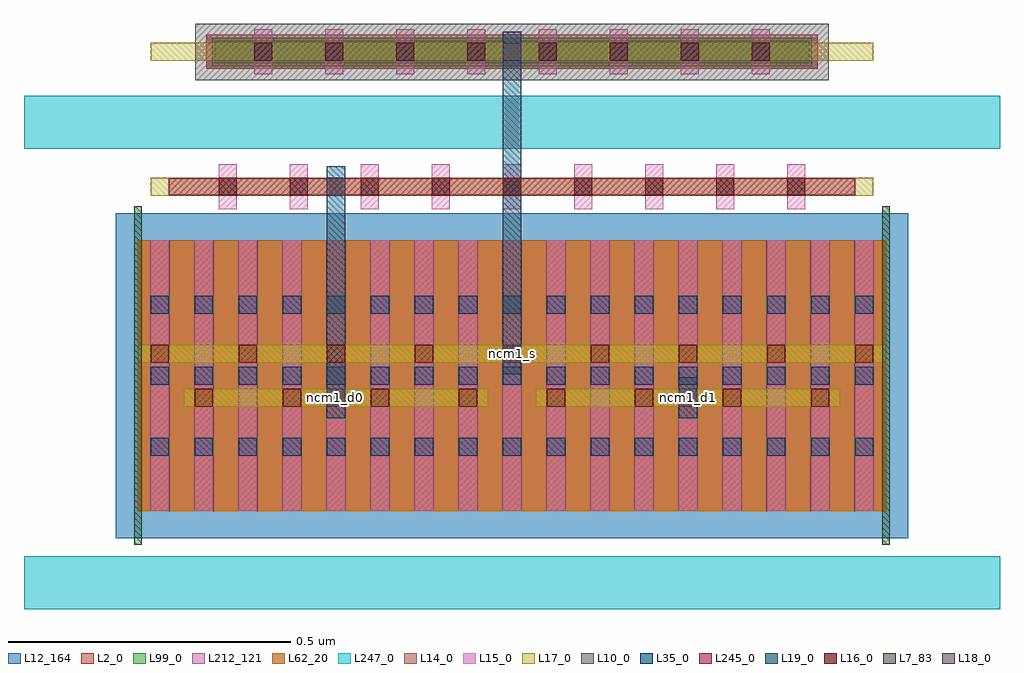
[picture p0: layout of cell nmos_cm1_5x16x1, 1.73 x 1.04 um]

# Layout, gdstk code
import gdstk
lib = gdstk.Library(unit=1e-6, precision=1e-12)
def R(c, l, rs):  # rectangles x0, y0, x1, y1
    for r in rs: c.add(gdstk.rectangle(r[:2], r[2:], *l))
def A(c, l, x, y, w, h, nx, ny, dx, dy):  # array of equal rectangles
    R(c, l, [(x+i*dx, y+j*dy, x+i*dx+w, y+j*dy+h) for i in range(nx) for j in range(ny)])
L2_0 = (2, 0)
L7_83 = (7, 83)
L10_0 = (10, 0)
L12_164 = (12, 164)
L14_0 = (14, 0)
L15_0 = (15, 0)
L16_0 = (16, 0)
L17_0 = (17, 0)
L18_0 = (18, 0)
L19_0 = (19, 0)
L35_0 = (35, 0)
L62_20 = (62, 20)
L99_0 = (99, 0)
L212_121 = (212, 121)
L245_0 = (245, 0)
L247_0 = (247, 0)

nmos_cm1_5x16x1 = lib.new_cell('nmos_cm1_5x16x1')
R(nmos_cm1_5x16x1, L2_0, [(0,0,1.326,0.48), (0.1214,0.784,1.2046,0.844)])
R(nmos_cm1_5x16x1, L7_83, [(-0.007,-0.06,0.007,0.54), (1.319,-0.06,1.333,0.54)])
R(nmos_cm1_5x16x1, L10_0, [(0.1014,0.764,1.2246,0.864)])
R(nmos_cm1_5x16x1, L12_164, [(-0.039,-0.048,1.365,0.528)])
A(nmos_cm1_5x16x1, L14_0, 0.022, 0, 0.034, 0.48, 17, 1, 0.078, 0)
R(nmos_cm1_5x16x1, L14_0, [(0.1364,0.794,1.1896,0.834)])
A(nmos_cm1_5x16x1, L15_0, 0.023, 0, 0.032, 0.48, 17, 1, 0.078, 0)
A(nmos_cm1_5x16x1, L15_0, 0.143, 0.535, 0.032, 0.08, 9, 1, 0.126, 0)
A(nmos_cm1_5x16x1, L15_0, 0.206, 0.774, 0.032, 0.08, 8, 1, 0.126, 0)
A(nmos_cm1_5x16x1, L16_0, 0.101, 0.185, 0.032, 0.032, 8, 1, 0.156, 0)
A(nmos_cm1_5x16x1, L16_0, 0.023, 0.263, 0.032, 0.032, 9, 1, 0.156, 0)
A(nmos_cm1_5x16x1, L16_0, 0.143, 0.559, 0.032, 0.032, 9, 1, 0.126, 0)
A(nmos_cm1_5x16x1, L16_0, 0.206, 0.798, 0.032, 0.032, 8, 1, 0.126, 0)
R(nmos_cm1_5x16x1, L17_0, [(0.081,0.185,0.621,0.217), (0.705,0.185,1.245,0.217), (0,0.263,1.326,0.295), (0.023,0.559,1.303,0.591), (0.023,0.798,1.303,0.83)])
R(nmos_cm1_5x16x1, L18_0, [(0.335,0.185,0.367,0.217), (0.959,0.185,0.991,0.217), (0.647,0.263,0.679,0.295), (0.335,0.559,0.367,0.591), (0.647,0.798,0.679,0.83)])
R(nmos_cm1_5x16x1, L19_0, [(0.335,0.165,0.367,0.611), (0.959,0.165,0.991,0.237), (0.647,0.243,0.679,0.85)])
A(nmos_cm1_5x16x1, L35_0, 0.023, 0.098, 0.032, 0.032, 17, 3, 0.078, 0.126)
A(nmos_cm1_5x16x1, L35_0, 0.143, 0.559, 0.032, 0.032, 9, 1, 0.126, 0)
A(nmos_cm1_5x16x1, L35_0, 0.206, 0.798, 0.032, 0.032, 8, 1, 0.126, 0)
R(nmos_cm1_5x16x1, L62_20, [(0,0,1.326,0.48)])
R(nmos_cm1_5x16x1, L99_0, [(0,0,1.326,0.48), (0.1314,0.789,1.1946,0.839)])
R(nmos_cm1_5x16x1, L212_121, [(0,0,1.326,0.48)])
R(nmos_cm1_5x16x1, L245_0, [(0.055,0.56,1.271,0.59)])
R(nmos_cm1_5x16x1, L247_0, [(-0.202,-0.174,1.528,-0.08), (-0.202,0.642,1.528,0.736)])
nmos_cm1_5x16x1.add(gdstk.Label('ncm1_s', (0.663,0.279), layer=16, texttype=20))
nmos_cm1_5x16x1.add(gdstk.Label('ncm1_d1', (0.975,0.201), layer=16, texttype=20))
nmos_cm1_5x16x1.add(gdstk.Label('ncm1_d0', (0.351,0.201), layer=16, texttype=20))

lib.write_gds('nmos_cm1_5x16x1.gds')
